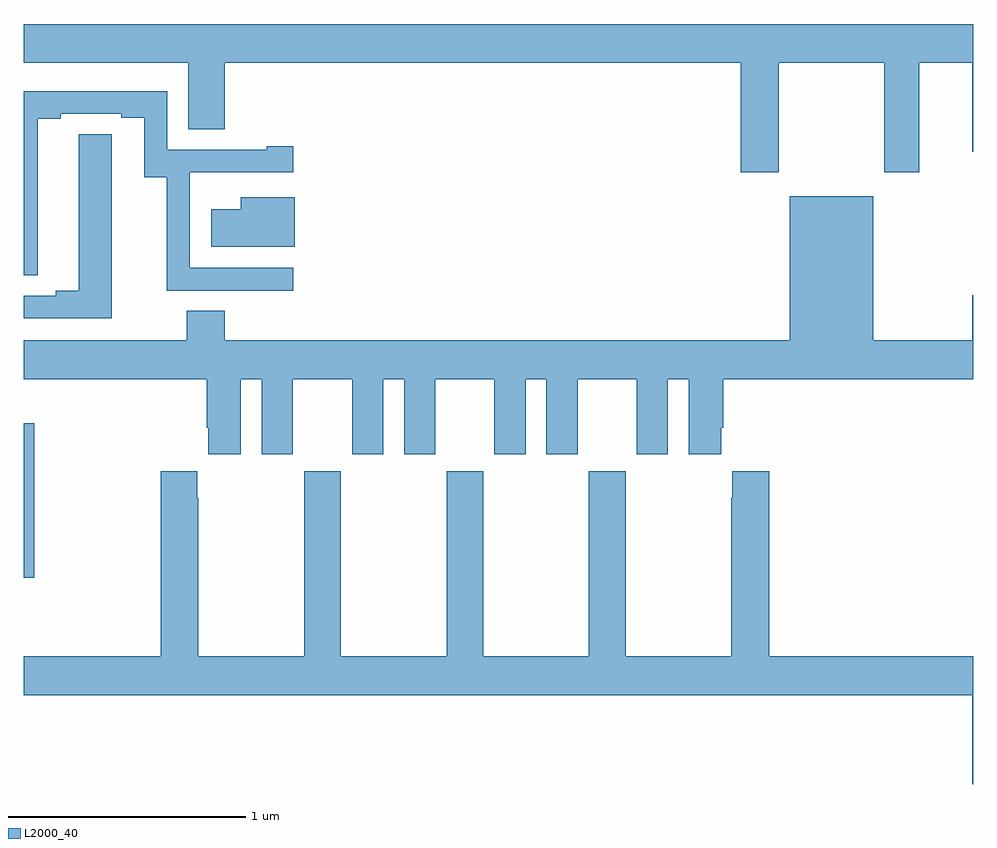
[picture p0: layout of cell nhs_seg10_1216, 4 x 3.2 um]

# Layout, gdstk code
import gdstk
lib = gdstk.Library(unit=1e-6, precision=1e-09)
def R(c, l, rs):  # rectangles x0, y0, x1, y1
    for r in rs: c.add(gdstk.rectangle(r[:2], r[2:], *l))
def P(c, l, *ps):  # polygons
    for p in ps: c.add(gdstk.Polygon(p, *l))
L2000_40 = (2000, 40)

nhs_seg10_1216 = lib.new_cell('nhs_seg10_1216')
R(nhs_seg10_1216, L2000_40, [(173,1303.476,173.045,1304.125)])
P(nhs_seg10_1216, L2000_40, [(176.181,1305.644),(176.626,1305.644),(176.626,1305.183),(176.773,1305.183),(176.773,1305.644),(176.996,1305.644),(176.996,1305.27),(177,1305.27),(177,1305.808),(173,1305.808),(173,1305.644),(173.693,1305.644),(173.693,1305.364),(173.846,1305.364),(173.846,1305.644),(176.021,1305.644),(176.021,1305.183),(176.181,1305.183)],
  [(174.136,1304.781),(173.7,1304.781),(173.7,1305.182),(173.702,1305.182),(173.702,1305.183),(174.136,1305.183),(174.136,1305.292),(174.023,1305.292),(174.023,1305.279),(173.604,1305.279),(173.604,1305.525),(173,1305.525),(173,1304.749),(173.059,1304.749),(173.059,1305.409),(173.155,1305.409),(173.155,1305.429),(173.411,1305.429),(173.411,1305.414),(173.507,1305.414),(173.507,1305.163),(173.602,1305.163),(173.602,1304.685),(174.136,1304.685)],
  [(173.371,1305.236),(173.37,1305.236),(173.37,1305.344),(173.231,1305.344),(173.231,1304.684),(173.135,1304.684),(173.135,1304.664),(173,1304.664),(173,1304.568),(173.371,1304.568)],
  [(173.914,1304.312),(174.002,1304.312),(174.002,1303.995),(174.133,1303.995),(174.133,1304.312),(174.383,1304.312),(174.383,1303.995),(174.514,1303.995),(174.514,1304.312),(174.602,1304.312),(174.602,1303.995),(174.733,1303.995),(174.733,1304.312),(174.983,1304.312),(174.983,1303.995),(175.114,1303.995),(175.114,1304.312),(175.202,1304.312),(175.202,1303.995),(175.333,1303.995),(175.333,1304.312),(175.583,1304.312),(175.583,1303.995),(175.714,1303.995),(175.714,1304.312),(175.802,1304.312),(175.802,1303.995),(175.939,1303.995),(175.939,1304.107),(175.946,1304.107),(175.946,1304.312),(177,1304.312),(177,1304.665),(176.996,1304.665),(176.996,1304.476),(176.578,1304.476),(176.578,1305.082),(176.228,1305.082),(176.228,1304.476),(173.846,1304.476),(173.846,1304.6),(173.686,1304.6),(173.686,1304.476),(173,1304.476),(173,1304.312),(173.771,1304.312),(173.771,1304.107),(173.777,1304.107),(173.777,1303.995),(173.914,1303.995)],
  [(174.142,1305.079),(173.915,1305.079),(173.915,1305.028),(173.79,1305.028),(173.79,1304.87),(174.142,1304.87)],
  [(177,1303.144),(176.141,1303.144),(176.141,1303.924),(175.985,1303.924),(175.985,1303.811),(175.981,1303.811),(175.981,1303.144),(175.536,1303.144),(175.536,1303.924),(175.381,1303.924),(175.381,1303.144),(174.936,1303.144),(174.936,1303.924),(174.781,1303.924),(174.781,1303.144),(174.336,1303.144),(174.336,1303.924),(174.181,1303.924),(174.181,1303.144),(173.736,1303.144),(173.736,1303.811),(173.731,1303.811),(173.731,1303.924),(173.576,1303.924),(173.576,1303.144),(173,1303.144),(173,1302.98),(176.996,1302.98),(176.996,1302.606),(177,1302.606)])

lib.write_gds('nhs_seg10_1216.gds')
